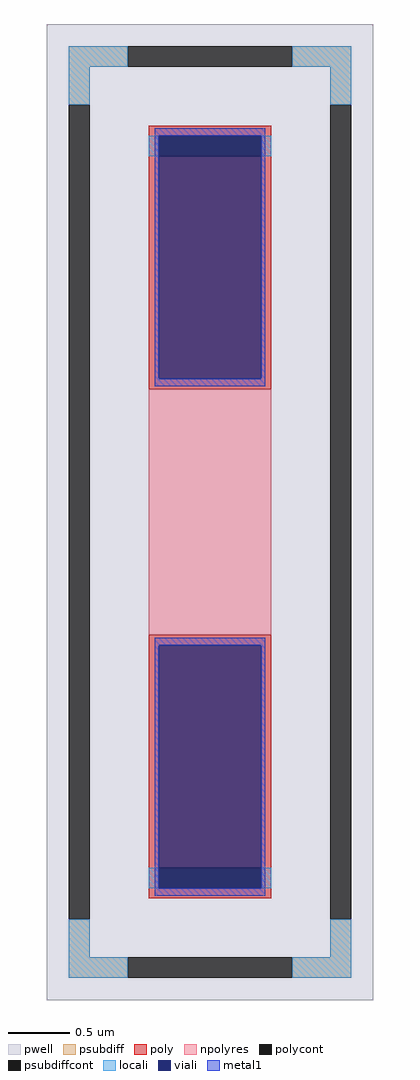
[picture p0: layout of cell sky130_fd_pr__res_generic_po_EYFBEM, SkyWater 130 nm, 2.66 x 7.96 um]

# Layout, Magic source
magic
tech sky130B
magscale 1 2
<< pwell >>
rect -266 -796 266 796
<< psubdiff >>
rect -230 726 -134 760
rect 134 726 230 760
rect -230 664 -196 726
rect 196 664 230 726
rect -230 -726 -196 -664
rect 196 -726 230 -664
rect -230 -760 -134 -726
rect 134 -760 230 -726
<< psubdiffcont >>
rect -134 726 134 760
rect -230 -664 -196 664
rect 196 -664 230 664
rect -134 -760 134 -726
<< poly >>
rect -100 614 100 630
rect -100 580 -84 614
rect 84 580 100 614
rect -100 200 100 580
rect -100 -580 100 -200
rect -100 -614 -84 -580
rect 84 -614 100 -580
rect -100 -630 100 -614
<< polycont >>
rect -84 580 84 614
rect -84 -614 84 -580
<< npolyres >>
rect -100 -200 100 200
<< locali >>
rect -230 726 -134 760
rect 134 726 230 760
rect -230 664 -196 726
rect 196 664 230 726
rect -100 580 -84 614
rect 84 580 100 614
rect -100 -614 -84 -580
rect 84 -614 100 -580
rect -230 -726 -196 -664
rect 196 -726 230 -664
rect -230 -760 -134 -726
rect 134 -760 230 -726
<< viali >>
rect -84 580 84 614
rect -84 217 84 580
rect -84 -580 84 -217
rect -84 -614 84 -580
<< metal1 >>
rect -90 614 90 626
rect -90 217 -84 614
rect 84 217 90 614
rect -90 205 90 217
rect -90 -217 90 -205
rect -90 -614 -84 -217
rect 84 -614 90 -217
rect -90 -626 90 -614
<< properties >>
string FIXED_BBOX -213 -743 213 743
string gencell sky130_fd_pr__res_generic_po
string library sky130
string parameters w 1.0 l 2.0 m 1 nx 1 wmin 0.330 lmin 1.650 rho 48.2 val 96.4 dummy 0 dw 0.0 term 0.0 sterm 0.0 caplen 0.4 snake 0 guard 1 glc 1 grc 1 gtc 1 gbc 1 roverlap 0 endcov 100 full_metal 1 hv_guard 0 n_guard 0 vias 1 viagb 0 viagt 0 viagl 0 viagr 0
<< end >>
